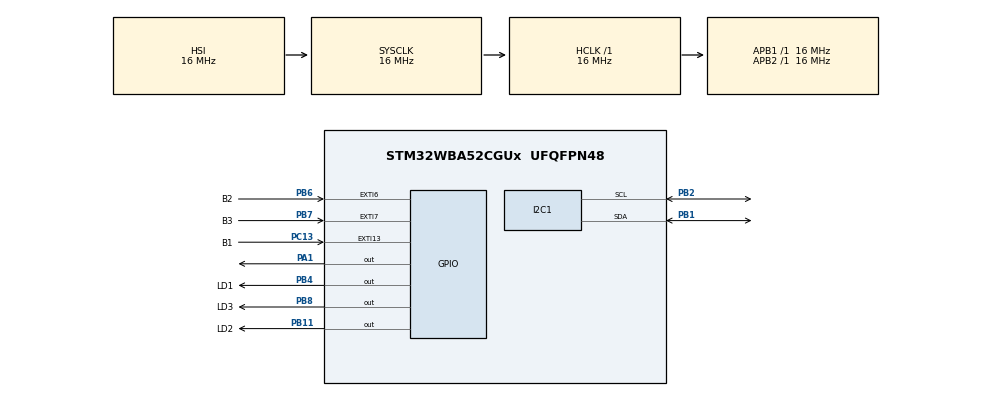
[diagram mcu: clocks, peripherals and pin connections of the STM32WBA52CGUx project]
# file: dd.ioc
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CORTEX_M33_NS.userName=CORTEX_M33
I2C1.Timing=0x00303D5B
Mcu.Family=STM32WBA
Mcu.Name=STM32WBA52CGUx
Mcu.Package=UFQFPN48
NUCLEO-WBA52CG.VCP=true
NVIC.EXTI13_IRQn=true\:0\:0\:false\:false\:true\:true\:true\:true
NVIC.EXTI6_IRQn=true\:0\:0\:false\:false\:true\:true\:true\:true
NVIC.EXTI7_IRQn=true\:0\:0\:false\:false\:true\:true\:true\:true
NVIC.PriorityGroup=NVIC_PRIORITYGROUP_4
OSC_IN.GPIO_Label=RCC_OSC_IN
OSC_IN.Signal=RCC_OSC_IN
OSC_OUT.GPIO_Label=RCC_OSC_OUT
OSC_OUT.Signal=RCC_OSC_OUT
PA1.Signal=GPIO_Output
PA13\ (JTMS/SWDIO).GPIO_Label=DEBUG_JTMS-SWDIO
PA13\ (JTMS/SWDIO).Signal=DEBUG_JTMS-SWDIO
PA14\ (JTCK/SWCLK).GPIO_Label=DEBUG_JTCK-SWCLK
PA14\ (JTCK/SWCLK).Signal=DEBUG_JTCK-SWCLK
PA8.Signal=USART1_RX
PB1.Mode=I2C
PB1.Signal=I2C1_SDA
PB11.GPIO_Label=LD2
PB11.GPIO_Speed=GPIO_SPEED_FREQ_HIGH
PB11.Signal=GPIO_Output
PB12.Signal=USART1_TX
PB2.Mode=I2C
PB2.Signal=I2C1_SCL
PB4\ (NJTRST).GPIO_Label=LD1
PB4\ (NJTRST).GPIO_Speed=GPIO_SPEED_FREQ_HIGH
PB4\ (NJTRST).Signal=GPIO_Output
PB6.GPIO_Label=B2
PB6.GPIO_PuPd=GPIO_PULLUP
PB6.Signal=GPXTI6
PB7.GPIO_Label=B3
PB7.GPIO_PuPd=GPIO_PULLUP
PB7.Signal=GPXTI7
PB8.GPIO_Label=LD3
PB8.GPIO_Speed=GPIO_SPEED_FREQ_HIGH
PB8.Signal=GPIO_Output
PC13.GPIO_Label=B1
PC13.GPIO_PuPd=GPIO_PULLUP
PC13.Signal=GPXTI13
PC14-OSC32_IN.GPIO_Label=RCC_OSC32_IN
PC14-OSC32_IN.Signal=RCC_OSC32_IN
PC15-OSC32_OUT.GPIO_Label=RCC_OSC32_OUT
PC15-OSC32_OUT.Signal=RCC_OSC32_OUT
ProjectManager.HeapSize=0x200
ProjectManager.StackSize=0x400
ProjectManager.TargetToolchain=STM32CubeIDE
RCC.ADCFreq_Value=16000000
RCC.AHBFreq_Value=16000000
RCC.APB1Freq_Value=16000000
RCC.APB1TimFreq_Value=16000000
RCC.APB2Freq_Value=16000000
RCC.APB2TimFreq_Value=16000000
RCC.CortexFreq_Value=2000000
RCC.HCLKFreq_Value=16000000
RCC.HSE_VALUE=32000000
RCC.HSI_VALUE=16000000
RCC.LSE_VALUE=32768
RCC.PWR_Regulator_Voltage_Scale=PWR_REGULATOR_VOLTAGE_SCALE1
RCC.SYSCLKFreq_VALUE=16000000
RCC.VCOOutputFreq_Value=2064000000
TIM3.PeriodNoDither=0xffff-1
TIM3.Prescaler=50-1
VP_CORTEX_M33_NS_VS_Hclk.Mode=Hclk_Mode
VP_ICACHE_VS_ICACHE.Mode=DirectMappedCache
VP_MEMORYMAP_VS_MEMORYMAP.Mode=CurAppReg
VP_NUCLEO-WBA52CG_VS_BSP_COMMON.Mode=COMMON
VP_PWR_VS_SECSignals.Mode=Security/Privilege
VP_TIM3_VS_ClockSourceINT.Mode=Internal
board=NUCLEO-WBA52CG

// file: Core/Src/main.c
/* USER CODE BEGIN Header */
/**
  ******************************************************************************
  * @file           : main.c
  * @brief          : Main program body
  ******************************************************************************
  * @attention
  *
  * Copyright (c) 2024 STMicroelectronics.
  * All rights reserved.
  *
  * This software is licensed under terms that can be found in the LICENSE file
  * in the root directory of this software component.
  * If no LICENSE file comes with this software, it is provided AS-IS.
  *
  ******************************************************************************
  */
/* USER CODE END Header */
#include "main.h"
#include  "i2c-lcd.h"

COM_InitTypeDef BspCOMInit;

I2C_HandleTypeDef hi2c1;

TIM_HandleTypeDef htim3;

void SystemClock_Config(void);
static void MX_GPIO_Init(void);
static void MX_ICACHE_Init(void);
static void MX_I2C1_Init(void);
static void MX_TIM3_Init(void);

/* USER CODE BEGIN 0 */
void delay (uint16_t time)
{
	/* change your code here for the delay in microseconds */
	__HAL_TIM_SET_COUNTER(&htim3, 0);
	while ((__HAL_TIM_GET_COUNTER(&htim3))<time);
}

void Display_Temp (float Temp)
{
	char str[20] = {0};
	lcd_put_cur(0, 0);

	sprintf (str, "TEMP:- %.2f ", Temp);
	lcd_send_string(str);
	lcd_send_data('C');
}

void Display_Rh (float Rh)
{
	char str[20] = {0};
	lcd_put_cur(1, 0);

	sprintf (str, "RH:- %.2f ", Rh);
	lcd_send_string(str);
	lcd_send_data('%');
}

uint8_t Rh_byte1, Rh_byte2, Temp_byte1, Temp_byte2;
uint16_t SUM, RH, TEMP;

float Temperature = 0;
float Humidity = 0;
uint8_t Presence = 0;

void Set_Pin_Output (GPIO_TypeDef *GPIOx, uint16_t GPIO_Pin)
{
	GPIO_InitTypeDef GPIO_InitStruct = {0};
	GPIO_InitStruct.Pin = GPIO_Pin;
	GPIO_InitStruct.Mode = GPIO_MODE_OUTPUT_PP;
	GPIO_InitStruct.Speed = GPIO_SPEED_FREQ_LOW;
	HAL_GPIO_Init(GPIOx, &GPIO_InitStruct);
}

void Set_Pin_Input (GPIO_TypeDef *GPIOx, uint16_t GPIO_Pin)
{
	GPIO_InitTypeDef GPIO_InitStruct = {0};
	GPIO_InitStruct.Pin = GPIO_Pin;
	GPIO_InitStruct.Mode = GPIO_MODE_INPUT;
	GPIO_InitStruct.Pull = GPIO_PULLUP;
	HAL_GPIO_Init(GPIOx, &GPIO_InitStruct);
}

/*********************************** DHT11 FUNCTIONS ********************************************/

#define DHT11_PORT GPIOA
#define DHT11_PIN GPIO_PIN_1

void DHT11_Start (void)
{
	Set_Pin_Output (DHT11_PORT, DHT11_PIN);  // set the pin as output
	HAL_GPIO_WritePin (DHT11_PORT, DHT11_PIN, 0);   // pull the pin low
	delay (18000);   // wait for 18ms
    HAL_GPIO_WritePin (DHT11_PORT, DHT11_PIN, 1);   // pull the pin high
	delay (20);   // wait for 20us
	Set_Pin_Input(DHT11_PORT, DHT11_PIN);    // set as input
}

uint8_t DHT11_Check_Response (void)
{
	uint8_t Response = 0;
	delay (40);
	if (!(HAL_GPIO_ReadPin (DHT11_PORT, DHT11_PIN)))
	{
		delay (80);
		if ((HAL_GPIO_ReadPin (DHT11_PORT, DHT11_PIN))) Response = 1;
		else Response = -1; // 255
	}
	while ((HAL_GPIO_ReadPin (DHT11_PORT, DHT11_PIN)));   // wait for the pin to go low

	return Response;
}

uint8_t DHT11_Read (void)
{
	uint8_t i,j;
	for (j=0;j<8;j++)
	{
		while (!(HAL_GPIO_ReadPin (DHT11_PORT, DHT11_PIN)));   // wait for the pin to go high
		delay (40);   // wait for 40 us
		if (!(HAL_GPIO_ReadPin (DHT11_PORT, DHT11_PIN)))   // if the pin is low
		{
			i&= ~(1<<(7-j));   // write 0
		}
		else i|= (1<<(7-j));  // if the pin is high, write 1
		while ((HAL_GPIO_ReadPin (DHT11_PORT, DHT11_PIN)));  // wait for the pin to go low
	}
	return i;
}
/* USER CODE END 0 */

int main(void)
{

  /* MCU Configuration--------------------------------------------------------*/

  /* Reset of all peripherals, Initializes the Flash interface and the Systick. */
  HAL_Init();

  /* Configure the system clock */
  SystemClock_Config();

  /* Initialize all configured peripherals */
  MX_GPIO_Init();
  MX_ICACHE_Init();
  MX_I2C1_Init();
  MX_TIM3_Init();
  /* USER CODE BEGIN 2 */
  lcd_init();
    lcd_send_string("INITIALISING>>>>");
    HAL_Delay(2000);
    lcd_clear ();

    /* USER CODE END 2 */

    /* Infinite loop */
     while (1)
     {

       /* USER CODE BEGIN 3 */

   	  Display_Temp(Temperature);
   	  Display_Rh(Humidity);

   	  DHT11_Start();
   	  Presence = DHT11_Check_Response();
   	  Rh_byte1 = DHT11_Read ();
   	  Rh_byte2 = DHT11_Read ();
   	  Temp_byte1 = DHT11_Read ();
   	  Temp_byte2 = DHT11_Read ();
   	  SUM = DHT11_Read();

   	  TEMP = Temp_byte1;
   	  RH = Rh_byte1;

   	  Temperature = (float) TEMP;
   	  Humidity = (float) RH;

   	  HAL_Delay(1000);

     }
  /* USER CODE END 2 */

  /* Initialize COM1 port (115200, 8 bits (7-bit data + 1 stop bit), no parity */
  BspCOMInit.BaudRate   = 115200;
  BspCOMInit.WordLength = COM_WORDLENGTH_8B;
  BspCOMInit.StopBits   = COM_STOPBITS_1;
  BspCOMInit.Parity     = COM_PARITY_NONE;
  BspCOMInit.HwFlowCtl  = COM_HWCONTROL_NONE;
  if (BSP_COM_Init(COM1, &BspCOMInit) != BSP_ERROR_NONE)
  {
    Error_Handler();
  }

  /* Infinite loop */
  /* USER CODE BEGIN WHILE */

  /* USER CODE END 3 */
}

void SystemClock_Config(void)
{
  RCC_OscInitTypeDef RCC_OscInitStruct = {0};
  RCC_ClkInitTypeDef RCC_ClkInitStruct = {0};

  /** Configure the main internal regulator output voltage
  */
  if (HAL_PWREx_ControlVoltageScaling(PWR_REGULATOR_VOLTAGE_SCALE1) != HAL_OK)
  {
    Error_Handler();
  }

  /** Initializes the CPU, AHB and APB busses clocks
  */
  RCC_OscInitStruct.OscillatorType = RCC_OSCILLATORTYPE_HSI;
  RCC_OscInitStruct.HSIState = RCC_HSI_ON;
  RCC_OscInitStruct.HSICalibrationValue = RCC_HSICALIBRATION_DEFAULT;
  RCC_OscInitStruct.PLL1.PLLState = RCC_PLL_NONE;
  if (HAL_RCC_OscConfig(&RCC_OscInitStruct) != HAL_OK)
  {
    Error_Handler();
  }

  /** Initializes the CPU, AHB and APB busses clocks
  */
  RCC_ClkInitStruct.ClockType = RCC_CLOCKTYPE_HCLK|RCC_CLOCKTYPE_SYSCLK
                              |RCC_CLOCKTYPE_PCLK1|RCC_CLOCKTYPE_PCLK2
                              |RCC_CLOCKTYPE_PCLK7|RCC_CLOCKTYPE_HCLK5;
  RCC_ClkInitStruct.SYSCLKSource = RCC_SYSCLKSOURCE_HSI;
  RCC_ClkInitStruct.AHBCLKDivider = RCC_SYSCLK_DIV1;
  RCC_ClkInitStruct.APB1CLKDivider = RCC_HCLK_DIV1;
  RCC_ClkInitStruct.APB2CLKDivider = RCC_HCLK_DIV1;
  RCC_ClkInitStruct.APB7CLKDivider = RCC_HCLK_DIV1;
  RCC_ClkInitStruct.AHB5_PLL1_CLKDivider = RCC_SYSCLK_PLL1_DIV1;
  RCC_ClkInitStruct.AHB5_HSEHSI_CLKDivider = RCC_SYSCLK_HSEHSI_DIV1;

  if (HAL_RCC_ClockConfig(&RCC_ClkInitStruct, FLASH_LATENCY_0) != HAL_OK)
  {
    Error_Handler();
  }
}

static void MX_I2C1_Init(void)
{

  hi2c1.Instance = I2C1;
  hi2c1.Init.Timing = 0x00303D5B;
  hi2c1.Init.OwnAddress1 = 0;
  hi2c1.Init.AddressingMode = I2C_ADDRESSINGMODE_7BIT;
  hi2c1.Init.DualAddressMode = I2C_DUALADDRESS_DISABLE;
  hi2c1.Init.OwnAddress2 = 0;
  hi2c1.Init.OwnAddress2Masks = I2C_OA2_NOMASK;
  hi2c1.Init.GeneralCallMode = I2C_GENERALCALL_DISABLE;
  hi2c1.Init.NoStretchMode = I2C_NOSTRETCH_DISABLE;
  if (HAL_I2C_Init(&hi2c1) != HAL_OK)
  {
    Error_Handler();
  }

  /** Configure Analogue filter
  */
  if (HAL_I2CEx_ConfigAnalogFilter(&hi2c1, I2C_ANALOGFILTER_ENABLE) != HAL_OK)
  {
    Error_Handler();
  }

  /** Configure Digital filter
  */
  if (HAL_I2CEx_ConfigDigitalFilter(&hi2c1, 0) != HAL_OK)
  {
    Error_Handler();
  }

}

static void MX_ICACHE_Init(void)
{

  /** Enable instruction cache in 1-way (direct mapped cache)
  */
  if (HAL_ICACHE_ConfigAssociativityMode(ICACHE_1WAY) != HAL_OK)
  {
    Error_Handler();
  }
  if (HAL_ICACHE_Enable() != HAL_OK)
  {
    Error_Handler();
  }

}

static void MX_TIM3_Init(void)
{

  TIM_ClockConfigTypeDef sClockSourceConfig = {0};
  TIM_MasterConfigTypeDef sMasterConfig = {0};

  htim3.Instance = TIM3;
  htim3.Init.Prescaler = 50-1;
  htim3.Init.CounterMode = TIM_COUNTERMODE_UP;
  htim3.Init.Period = 65534;
  htim3.Init.ClockDivision = TIM_CLOCKDIVISION_DIV1;
  htim3.Init.AutoReloadPreload = TIM_AUTORELOAD_PRELOAD_DISABLE;
  if (HAL_TIM_Base_Init(&htim3) != HAL_OK)
  {
    Error_Handler();
  }
  sClockSourceConfig.ClockSource = TIM_CLOCKSOURCE_INTERNAL;
  if (HAL_TIM_ConfigClockSource(&htim3, &sClockSourceConfig) != HAL_OK)
  {
    Error_Handler();
  }
  sMasterConfig.MasterOutputTrigger = TIM_TRGO_RESET;
  sMasterConfig.MasterSlaveMode = TIM_MASTERSLAVEMODE_DISABLE;
  if (HAL_TIMEx_MasterConfigSynchronization(&htim3, &sMasterConfig) != HAL_OK)
  {
    Error_Handler();
  }

}

static void MX_GPIO_Init(void)
{
  GPIO_InitTypeDef GPIO_InitStruct = {0};

  /* GPIO Ports Clock Enable */
  __HAL_RCC_GPIOB_CLK_ENABLE();
  __HAL_RCC_GPIOA_CLK_ENABLE();
  __HAL_RCC_GPIOC_CLK_ENABLE();

  /*Configure GPIO pin Output Level */
  HAL_GPIO_WritePin(GPIOB, LD2_Pin|LD3_Pin|LD1_Pin, GPIO_PIN_RESET);

  /*Configure GPIO pin Output Level */
  HAL_GPIO_WritePin(GPIOA, GPIO_PIN_1, GPIO_PIN_RESET);

  /*Configure GPIO pins : LD2_Pin LD3_Pin LD1_Pin */
  GPIO_InitStruct.Pin = LD2_Pin|LD3_Pin|LD1_Pin;
  GPIO_InitStruct.Mode = GPIO_MODE_OUTPUT_PP;
  GPIO_InitStruct.Pull = GPIO_NOPULL;
  GPIO_InitStruct.Speed = GPIO_SPEED_FREQ_HIGH;
  HAL_GPIO_Init(GPIOB, &GPIO_InitStruct);

  /*Configure GPIO pin : PA1 */
  GPIO_InitStruct.Pin = GPIO_PIN_1;
  GPIO_InitStruct.Mode = GPIO_MODE_OUTPUT_PP;
  GPIO_InitStruct.Pull = GPIO_NOPULL;
  GPIO_InitStruct.Speed = GPIO_SPEED_FREQ_LOW;
  HAL_GPIO_Init(GPIOA, &GPIO_InitStruct);

  /*Configure GPIO pin : B1_Pin */
  GPIO_InitStruct.Pin = B1_Pin;
  GPIO_InitStruct.Mode = GPIO_MODE_IT_RISING;
  GPIO_InitStruct.Pull = GPIO_PULLUP;
  HAL_GPIO_Init(B1_GPIO_Port, &GPIO_InitStruct);

  /*Configure GPIO pins : B3_Pin B2_Pin */
  GPIO_InitStruct.Pin = B3_Pin|B2_Pin;
  GPIO_InitStruct.Mode = GPIO_MODE_IT_RISING;
  GPIO_InitStruct.Pull = GPIO_PULLUP;
  HAL_GPIO_Init(GPIOB, &GPIO_InitStruct);

  /* EXTI interrupt init*/
  HAL_NVIC_SetPriority(EXTI6_IRQn, 0, 0);
  HAL_NVIC_EnableIRQ(EXTI6_IRQn);

  HAL_NVIC_SetPriority(EXTI7_IRQn, 0, 0);
  HAL_NVIC_EnableIRQ(EXTI7_IRQn);

  HAL_NVIC_SetPriority(EXTI13_IRQn, 0, 0);
  HAL_NVIC_EnableIRQ(EXTI13_IRQn);

}

void Error_Handler(void)
{
  __disable_irq();
  while (1)
  {
  }
}
